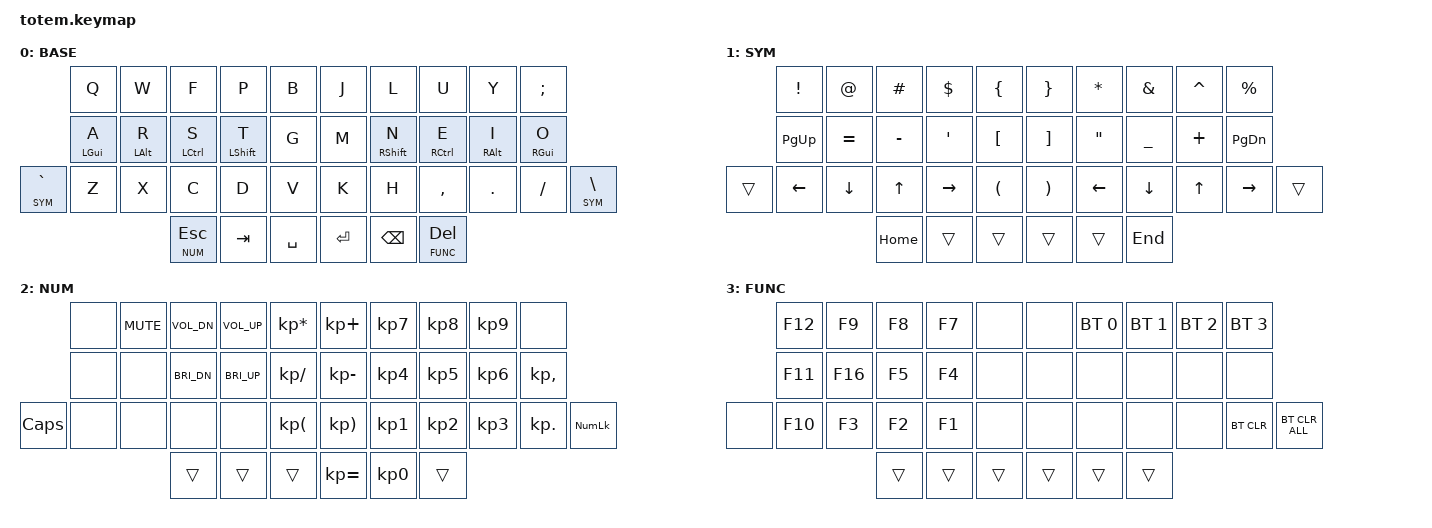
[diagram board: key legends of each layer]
// Based on the TOTEM keymap from https://github.com/GEIGEIGEIST/zmk-config-totem/ 
// but using QWERTY layout for letters.

#include <behaviors.dtsi>
#include <dt-bindings/zmk/keys.h>
#include <dt-bindings/zmk/bt.h>
#include <dt-bindings/zmk/outputs.h>

#define BASE 0
#define SYM  1
#define NUM  2
#define FUNC 3

&mt {
  quick-tap-ms = <100>;
  require-prior-idle-ms = <100>;
  flavor = "tap-preferred";
  tapping-term-ms = <170>;
};

/ {
     combos {
            compatible = "zmk,combos";
            combo_esc {
                timeout-ms = <50>;
                key-positions = <0 1>;
                bindings = <&kp ESC>;
            };
    };

        keymap {
                compatible = "zmk,keymap";
// ▄▄▄▄▄▄▄▄▄▄▄▄▄▄▄▄▄▄▄▄▄▄▄▄▄▄▄▄▄▄▄▄▄▄▄▄▄▄▄▄▄▄▄▄▄▄▄▄▄▄▄▄▄▄▄▄▄▄▄▄▄▄▄▄▄▄▄▄▄▄▄▄▄▄▄▄▄▄▄▄▄▄▄▄▄▄▄▄▄▄▄▄▄▄▄▄▄▄▄▄▄▄▄▄▄▄▄▄▄▄▄▄▄▄▄▄▄▄▄▄▄▄▄▄▄▄▄▄▄▄▄▄▄▄▄▄▄▄▄▄▄▄▄▄▄▄▄▄▄

                base_layer {
// ┏━━━━━━━━━━━━━━━━━━━━━━━━━━━━━━━━━━━━━━━┓
display-name= "BASE"                              ;
// ┗━━━━━━━━━━━━━━━━━━━━━━━━━━━━━━━━━━━━━━━┛
//             ┏━━━━━━━━━━━┳━━━━━━━━━━━┳━━━━━━━━━━━┳━━━━━━━━━━━┳━━━━━━━━━━━┓   ┏━━━━━━━━━━━┳━━━━━━━━━━━┳━━━━━━━━━━━┳━━━━━━━━━━━┳━━━━━━━━━━━┓
//             ┃     Q     ┃      W    ┃     F     ┃      P    ┃     B     ┃   ┃     J     ┃     L     ┃     U     ┃     Y     ┃      ;    ┃
//             ┣━━━━━━━━━━━╋━━━━━━━━━━━╋━━━━━━━━━━━╋━━━━━━━━━━━╋━━━━━━━━━━━┫   ┣━━━━━━━━━━━╋━━━━━━━━━━━╋━━━━━━━━━━━╋━━━━━━━━━━━╋━━━━━━━━━━━┫
//             ┃     A     ┃      R    ┃     S     ┃      T    ┃     G     ┃   ┃     M     ┃     N     ┃     E     ┃     I     ┃      O    ┃
// ┏━━━━━━━━━━━╋━━━━━━━━━━━╋━━━━━━━━━━━╋━━━━━━━━━━━╋━━━━━━━━━━━╋━━━━━━━━━━━┫   ┣━━━━━━━━━━━╋━━━━━━━━━━━╋━━━━━━━━━━━╋━━━━━━━━━━━╋━━━━━━━━━━━╋━━━━━━━━━━━┓
// ┃     `     ┃     Z     ┃      X    ┃     C     ┃      D    ┃     V     ┃   ┃     K     ┃     H     ┃     ,     ┃     .     ┃      /    ┃     \     ┃
// ┗━━━━━━━━━━━┻━━━━━━━━━━━┻━━━━━━━━━━━╋━━━━━━━━━━━╋━━━━━━━━━━━╋━━━━━━━━━━━┫   ┣━━━━━━━━━━━╋━━━━━━━━━━━╋━━━━━━━━━━━╋━━━━━━━━━━━┻━━━━━━━━━━━┻━━━━━━━━━━━┛
//                                     ┃    ESC    ┃     TAB   ┃    SPC    ┃   ┃    RET    ┃    BSPC   ┃    DEL    ┃
//                                     ┗━━━━━━━━━━━┻━━━━━━━━━━━┻━━━━━━━━━━━┛   ┗━━━━━━━━━━━┻━━━━━━━━━━━┻━━━━━━━━━━━┛
 bindings = <

                  &kp Q       &kp W       &kp F        &kp P        &kp B           &kp J       &kp L         &kp U        &kp Y       &kp SEMI
                  &mt LGUI A  &mt LALT R  &mt LCTRL S  &mt LSHFT T  &kp G           &kp M       &mt RSHFT N   &mt RCTRL E  &mt RALT I  &mt RGUI O
    &lt SYM GRAVE &kp Z       &kp X       &kp C        &kp D        &kp V           &kp K       &kp H         &kp COMMA    &kp DOT     &kp FSLH    &lt SYM BSLH
                                          &lt NUM ESC  &kp TAB      &kp SPACE       &kp RET     &kp BSPC      &lt FUNC DEL
                        >;
                };

// ▄▄▄▄▄▄▄▄▄▄▄▄▄▄▄▄▄▄▄▄▄▄▄▄▄▄▄▄▄▄▄▄▄▄▄▄▄▄▄▄▄▄▄▄▄▄▄▄▄▄▄▄▄▄▄▄▄▄▄▄▄▄▄▄▄▄▄▄▄▄▄▄▄▄▄▄▄▄▄▄▄▄▄▄▄▄▄▄▄▄▄▄▄▄▄▄▄▄▄▄▄▄▄▄▄▄▄▄▄▄▄▄▄▄▄▄▄▄▄▄▄▄▄▄▄▄▄▄▄▄▄▄▄▄▄▄▄▄▄▄▄▄▄▄▄▄▄▄▄


                sym_layer {
// ┏━━━━━━━━━━━━━━━━━━━━━━━━━━━━━━━━━━━━━━━┓
display-name= "SYM"                              ;
// ┗━━━━━━━━━━━━━━━━━━━━━━━━━━━━━━━━━━━━━━━┛
//             ┏━━━━━━━━━━━┳━━━━━━━━━━━┳━━━━━━━━━━━┳━━━━━━━━━━━┳━━━━━━━━━━━┓   ┏━━━━━━━━━━━┳━━━━━━━━━━━┳━━━━━━━━━━━┳━━━━━━━━━━━┳━━━━━━━━━━━┓
//             ┃     !     ┃     @     ┃     #     ┃     $     ┃     {     ┃   ┃     }     ┃     *     ┃     &     ┃     ^     ┃     %     ┃
//             ┣━━━━━━━━━━━╋━━━━━━━━━━━╋━━━━━━━━━━━╋━━━━━━━━━━━╋━━━━━━━━━━━┫   ┣━━━━━━━━━━━╋━━━━━━━━━━━╋━━━━━━━━━━━╋━━━━━━━━━━━╋━━━━━━━━━━━┫
//             ┃   PG-UP   ┃     =     ┃     -     ┃     '     ┃     [     ┃   ┃     ]     ┃     "     ┃     _     ┃     +     ┃   PG-DN   ┃
// ┏━━━━━━━━━━━╋━━━━━━━━━━━╋━━━━━━━━━━━╋━━━━━━━━━━━╋━━━━━━━━━━━╋━━━━━━━━━━━┫   ┣━━━━━━━━━━━╋━━━━━━━━━━━╋━━━━━━━━━━━╋━━━━━━━━━━━╋━━━━━━━━━━━╋━━━━━━━━━━━┓
// ┃           ┃    LEFT   ┃    DOWN   ┃     UP    ┃   RIGHT   ┃     (     ┃   ┃     )     ┃    LEFT   ┃    DOWN   ┃     UP    ┃   RIGHT   ┃           ┃
// ┗━━━━━━━━━━━┻━━━━━━━━━━━┻━━━━━━━━━━━╋━━━━━━━━━━━╋━━━━━━━━━━━╋━━━━━━━━━━━┫   ┣━━━━━━━━━━━╋━━━━━━━━━━━╋━━━━━━━━━━━╋━━━━━━━━━━━┻━━━━━━━━━━━┻━━━━━━━━━━━┛
//                                     ┃    HOME   ┃           ┃           ┃   ┃           ┃           ┃    END    ┃
//                                     ┗━━━━━━━━━━━┻━━━━━━━━━━━┻━━━━━━━━━━━┛   ┗━━━━━━━━━━━┻━━━━━━━━━━━┻━━━━━━━━━━━┛
 bindings = <
             &kp EXCL    &kp AT      &kp HASH    &kp DLLR    &kp LBRC        &kp RBRC    &kp STAR    &kp AMPS    &kp CARET   &kp PRCNT
             &kp PG_UP   &kp EQUAL   &kp MINUS   &kp APOS    &kp LBKT        &kp RBKT    &kp DQT     &kp UNDER   &kp PLUS    &kp PG_DN
    &trans   &kp LEFT    &kp DOWN    &kp UP      &kp RIGHT   &kp LPAR        &kp RPAR    &kp LEFT    &kp DOWN    &kp UP      &kp RIGHT  &trans       
                                     &kp HOME    &trans      &trans          &trans      &trans      &kp END   
                        >;
                };

// ▄▄▄▄▄▄▄▄▄▄▄▄▄▄▄▄▄▄▄▄▄▄▄▄▄▄▄▄▄▄▄▄▄▄▄▄▄▄▄▄▄▄▄▄▄▄▄▄▄▄▄▄▄▄▄▄▄▄▄▄▄▄▄▄▄▄▄▄▄▄▄▄▄▄▄▄▄▄▄▄▄▄▄▄▄▄▄▄▄▄▄▄▄▄▄▄▄▄▄▄▄▄▄▄▄▄▄▄▄▄▄▄▄▄▄▄▄▄▄▄▄▄▄▄▄▄▄▄▄▄▄▄▄▄▄▄▄▄▄▄▄▄▄▄▄▄▄▄▄


                num_layer {
// ┏━━━━━━━━━━━━━━━━━━━━━━━━━━━━━━━━━━━━━━━┓
display-name= "NUM"                               ;
// ┗━━━━━━━━━━━━━━━━━━━━━━━━━━━━━━━━━━━━━━━┛
//             ┏━━━━━━━━━━━┳━━━━━━━━━━━┳━━━━━━━━━━━┳━━━━━━━━━━━┳━━━━━━━━━━━┓   ┏━━━━━━━━━━━┳━━━━━━━━━━━┳━━━━━━━━━━━┳━━━━━━━━━━━┳━━━━━━━━━━━┓
//             ┃           ┃  C_MUTE   ┃  C_VOL_DN ┃  C_VOL_UP ┃     *     ┃   ┃     +     ┃     7     ┃     8     ┃     9     ┃           ┃
//             ┣━━━━━━━━━━━╋━━━━━━━━━━━╋━━━━━━━━━━━╋━━━━━━━━━━━╋━━━━━━━━━━━┫   ┣━━━━━━━━━━━╋━━━━━━━━━━━╋━━━━━━━━━━━╋━━━━━━━━━━━╋━━━━━━━━━━━┫
//             ┃           ┃           ┃  C_BRI_DN ┃  C_BRI_UP ┃     /     ┃   ┃     -     ┃     4     ┃     5     ┃     6     ┃     ,     ┃
// ┏━━━━━━━━━━━╋━━━━━━━━━━━╋━━━━━━━━━━━╋━━━━━━━━━━━╋━━━━━━━━━━━╋━━━━━━━━━━━┫   ┣━━━━━━━━━━━╋━━━━━━━━━━━╋━━━━━━━━━━━╋━━━━━━━━━━━╋━━━━━━━━━━━╋━━━━━━━━━━━┓
// ┃   CAPS    ┃           ┃           ┃           ┃           ┃     (     ┃   ┃     )     ┃     1     ┃     2     ┃     3     ┃     .     ┃  KP_NUM   ┃
// ┗━━━━━━━━━━━┻━━━━━━━━━━━┻━━━━━━━━━━━╋━━━━━━━━━━━╋━━━━━━━━━━━╋━━━━━━━━━━━┫   ┣━━━━━━━━━━━╋━━━━━━━━━━━╋━━━━━━━━━━━╋━━━━━━━━━━━┻━━━━━━━━━━━┻━━━━━━━━━━━┛
//                                     ┃           ┃           ┃           ┃   ┃     =     ┃     0     ┃           ┃
//                                     ┗━━━━━━━━━━━┻━━━━━━━━━━━┻━━━━━━━━━━━┛   ┗━━━━━━━━━━━┻━━━━━━━━━━━┻━━━━━━━━━━━┛
 bindings = <
// ╷           ╷           ╷           ╷           ╷             ╷              ╷   ╷            ╷           ╷           ╷           ╷            ╷           ╷

                &none      &kp C_MUTE  &kp C_VOL_DN &kp C_VOL_UP &kp KP_MULTIPLY    &kp KP_PLUS  &kp KP_N7   &kp KP_N8   &kp KP_N9   &none
                &none      &none       &kp C_BRI_DN &kp C_BRI_UP &kp KP_DIVIDE      &kp KP_MINUS &kp KP_N4   &kp KP_N5   &kp KP_N6   &kp KP_COMMA
    &kp CAPS    &none      &none       &none        &none        &kp KP_LPAR        &kp KP_RPAR  &kp KP_N1   &kp KP_N2   &kp KP_N3   &kp KP_DOT   &kp KP_NUM         
                                       &trans       &trans       &trans             &kp KP_EQUAL &kp KP_N0   &trans      
                        >;
                };

// ▄▄▄▄▄▄▄▄▄▄▄▄▄▄▄▄▄▄▄▄▄▄▄▄▄▄▄▄▄▄▄▄▄▄▄▄▄▄▄▄▄▄▄▄▄▄▄▄▄▄▄▄▄▄▄▄▄▄▄▄▄▄▄▄▄▄▄▄▄▄▄▄▄▄▄▄▄▄▄▄▄▄▄▄▄▄▄▄▄▄▄▄▄▄▄▄▄▄▄▄▄▄▄▄▄▄▄▄▄▄▄▄▄▄▄▄▄▄▄▄▄▄▄▄▄▄▄▄▄▄▄▄▄▄▄▄▄▄▄▄▄▄▄▄▄▄▄▄▄


                func_layer {
// ┏━━━━━━━━━━━━━━━━━━━━━━━━━━━━━━━━━━━━━━━┓
display-name= "FUNC"                               ;
// ┗━━━━━━━━━━━━━━━━━━━━━━━━━━━━━━━━━━━━━━━┛
//             ┏━━━━━━━━━━━┳━━━━━━━━━━━┳━━━━━━━━━━━┳━━━━━━━━━━━┳━━━━━━━━━━━┓   ┏━━━━━━━━━━━┳━━━━━━━━━━━┳━━━━━━━━━━━┳━━━━━━━━━━━┳━━━━━━━━━━━┓
//             ┃    F12    ┃     F9    ┃     F8    ┃     F7    ┃           ┃   ┃           ┃  BT_SEL 0 ┃  BT_SEL 1 ┃  BT_SEL 2 ┃  BT_SEL 3 ┃
//             ┣━━━━━━━━━━━╋━━━━━━━━━━━╋━━━━━━━━━━━╋━━━━━━━━━━━╋━━━━━━━━━━━┫   ┣━━━━━━━━━━━╋━━━━━━━━━━━╋━━━━━━━━━━━╋━━━━━━━━━━━╋━━━━━━━━━━━┫
//             ┃    F11    ┃     F6    ┃     F5    ┃     F4    ┃           ┃   ┃           ┃           ┃           ┃           ┃           ┃
// ┏━━━━━━━━━━━╋━━━━━━━━━━━╋━━━━━━━━━━━╋━━━━━━━━━━━╋━━━━━━━━━━━╋━━━━━━━━━━━┫   ┣━━━━━━━━━━━╋━━━━━━━━━━━╋━━━━━━━━━━━╋━━━━━━━━━━━╋━━━━━━━━━━━╋━━━━━━━━━━━┓
// ┃           ┃    F10    ┃     F3    ┃     F2    ┃     F1    ┃           ┃   ┃           ┃           ┃           ┃           ┃  BT_CLR   ┃ BT_CLR_ALL┃
// ┗━━━━━━━━━━━┻━━━━━━━━━━━┻━━━━━━━━━━━╋━━━━━━━━━━━╋━━━━━━━━━━━╋━━━━━━━━━━━┫   ┣━━━━━━━━━━━╋━━━━━━━━━━━╋━━━━━━━━━━━╋━━━━━━━━━━━┻━━━━━━━━━━━┻━━━━━━━━━━━┛
//                                     ┃           ┃           ┃           ┃   ┃           ┃           ┃           ┃
//                                     ┗━━━━━━━━━━━┻━━━━━━━━━━━┻━━━━━━━━━━━┛   ┗━━━━━━━━━━━┻━━━━━━━━━━━┻━━━━━━━━━━━┛
 bindings = <
// ╷           ╷           ╷           ╷           ╷           ╷           ╷   ╷           ╷            ╷            ╷            ╷            ╷           ╷

                &kp F12    &kp F9      &kp F8      &kp F7      &none           &none       &bt BT_SEL 0 &bt BT_SEL 1 &bt BT_SEL 2 &bt BT_SEL 3
                &kp F11    &kp F16     &kp F5      &kp F4      &none           &none       &none        &none        &none        &none  
    &none       &kp F10    &kp F3      &kp F2      &kp F1      &none           &none       &none        &none        &none        &bt BT_CLR   &bt BT_CLR_ALL        
                                       &trans      &trans      &trans          &trans      &trans       &trans      
                        >;
                };
        };
};
